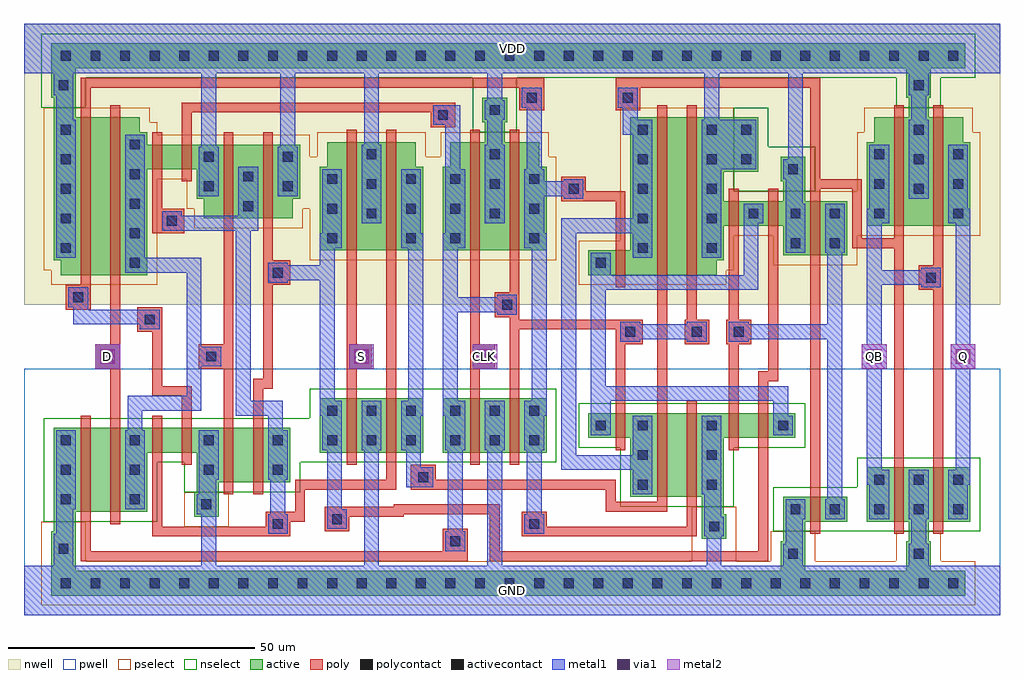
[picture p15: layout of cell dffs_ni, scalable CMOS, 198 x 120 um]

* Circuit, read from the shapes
.subckt dffs_ni CLK D GND Q QB S VDD
M1 n1 n2 GND GND nfet w=17u l=2u
M2 n3 D n1 GND nfet w=17u l=2u
M3 n4 n5 n3 GND nfet w=5u l=2u
M4 GND n6 n4 GND nfet w=5u l=2u
M5 n7 n3 GND GND nfet w=11u l=2u
M6 n5 n8 n7 GND nfet w=11u l=2u
M7 GND S n8 GND nfet w=11u l=2u
M8 n9 n5 GND GND nfet w=11u l=2u
M9 GND CLK n2 GND nfet w=11u l=2u
M10 n6 n2 GND GND nfet w=11u l=2u
M11 n10 n2 n11 GND nfet w=5u l=2u
M12 n12 n9 n10 GND nfet w=17u l=2u
M13 GND n6 n12 GND nfet w=17u l=2u
M14 n13 n14 GND GND nfet w=5u l=2u
M15 n11 n8 n13 GND nfet w=5u l=2u
M16 n14 n10 GND GND nfet w=5u l=2u
M17 GND n10 QB GND nfet w=11u l=2u
M18 Q QB GND GND nfet w=11u l=2u
M19 n15 n6 VDD VDD pfet w=32u l=2u
M20 n3 D n15 VDD pfet w=32u l=2u
M21 n16 n5 n3 VDD pfet w=5u l=2u
M22 VDD n2 n16 VDD pfet w=5u l=2u
M23 n5 n3 VDD VDD pfet w=15u l=2u
M24 VDD n8 n5 VDD pfet w=15u l=2u
M25 VDD S n8 VDD pfet w=22u l=2u
M26 n9 n5 VDD VDD pfet w=22u l=2u
M27 VDD CLK n2 VDD pfet w=22u l=2u
M28 n6 n2 VDD VDD pfet w=22u l=2u
M29 n10 n6 n11 VDD pfet w=5u l=2u
M30 n17 n9 n10 VDD pfet w=32u l=2u
M31 VDD n2 n17 VDD pfet w=32u l=2u
M32 n11 n14 VDD VDD pfet w=5u l=2u
M33 VDD n8 n11 VDD pfet w=5u l=2u
M34 n14 n10 VDD VDD pfet w=11u l=2u
M35 VDD n10 QB VDD pfet w=22u l=2u
M36 Q QB VDD VDD pfet w=22u l=2u
.ends

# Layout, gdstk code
from math import pi, radians
import gdstk
lib = gdstk.Library(unit=1e-6, precision=1e-09)
def R(c, l, rs):  # rectangles x0, y0, x1, y1
    for r in rs: c.add(gdstk.rectangle(r[:2], r[2:], *l))
def A(c, l, x, y, w, h, nx, ny, dx, dy):  # array of equal rectangles
    R(c, l, [(x+i*dx, y+j*dy, x+i*dx+w, y+j*dy+h) for i in range(nx) for j in range(ny)])
def P(c, l, *ps):  # polygons
    for p in ps: c.add(gdstk.Polygon(p, *l))
pwell = (41, 0)
nwell = (42, 0)
active = (43, 0)
pselect = (44, 0)
nselect = (45, 0)
poly = (46, 0)
polycontact = (47, 0)
activecontact = (48, 0)
metal1 = (49, 0)
via1 = (50, 0)
metal2 = (51, 0)

via = lib.new_cell('via')
R(via, metal1, [(-2.5,-2.5,2.5,2.5)])
R(via, via1, [(-1.5,-1.5,1.5,1.5)])
R(via, metal2, [(-2.5,-2.5,2.5,2.5)])

dffs_ni = lib.new_cell('dffs_ni')
R(dffs_ni, pwell, [(0,0,198,50), (148,13,173,30), (165,13,198,36), (54,27,87,50), (79,27,112,50)])
P(dffs_ni, pwell, [(31,15),(31,21),(60,21),(60,44),(0,44),(0,15)],
  [(148,18),(148,30),(162.5,30),(162.5,47),(108.5,47),(108.5,30),(117,30),(117,18)])
R(dffs_ni, nwell, [(0,63,198,120)])
P(dffs_ni, nwell, [(79,68),(79,97),(80.5,97),(80.5,102),(110.5,102),(110.5,97),(112,97),(112,68)],
  [(54,68),(54,97),(55.5,97),(55.5,102),(85.5,102),(85.5,97),(87,97),(87,68)],
  [(31,63),(31,74.5),(60.5,74.5),(60.5,78.5),(62,78.5),(62,101.5),(31,101.5),(31,104),(29.5,104),(29.5,107),(0,107),(0,66),(1.5,66),(1.5,63)],
  [(165,73),(165,102),(166.5,102),(166.5,107),(196.5,107),(196.5,102),(198,102),(198,73)],
  [(146.5,63),(146.5,66),(148,66),(148,67),(173,67),(173,90),(148,90),(148,107),(117,107),(117,80),(108.5,80),(108.5,63)])
R(dffs_ni, active, [(5.5,4,191,9), (5.5,9,10.5,17), (153.5,9,158.5,15), (179,9,184,15), (154,15,158.5,19), (179.5,15,183.5,19), (137.5,15.5,142.5,20.5), (6,17,10.5,21), (154,19,159.5,24), (154,19,167,24), (161.5,19,167,24), (171,19,176.5,30), (171,19,192,30), (186.5,19,192,30), (34.5,20,39.5,25), (137.5,20.5,142,24), (6,21,11.5,38), (35,25,39.5,27), (48.5,27,54,38), (60,33,65.5,44), (60,33,81,44), (75.5,33,81,44), (85,33,90.5,44), (85,33,106,44), (100.5,33,106,44), (114.5,36,120,41), (151,36,156.5,41), (114.5,69,120,74), (161.5,73,167,84), (154,84,158.5,88), (153.5,88,158.5,93), (142,90,149,101), (93.5,96,97.5,100), (93,100,98,105), (6,101,10.5,105), (179.5,101,183.5,105), (5.5,105,10.5,111), (179,105,184,111), (5.5,111,191,116)])
P(dffs_ni, active, [(85,74),(85,91),(86.5,91),(86.5,96),(104.5,96),(104.5,91),(106,91),(106,74)],
  [(85,74),(85,91),(86.5,91),(86.5,96),(90.5,96),(90.5,74)],
  [(100.5,74),(100.5,96),(104.5,96),(104.5,91),(106,91),(106,74)],
  [(60,74),(60,91),(61.5,91),(61.5,96),(79.5,96),(79.5,91),(81,91),(81,74)],
  [(60,74),(60,91),(61.5,91),(61.5,96),(65.5,96),(65.5,74)],
  [(75.5,74),(75.5,96),(79.5,96),(79.5,91),(81,91),(81,74)],
  [(25,21),(25,33),(35,33),(35,27),(54,27),(54,38),(6,38),(6,21)],
  [(142,24),(142,36),(156.5,36),(156.5,41),(114.5,41),(114.5,36),(123,36),(123,24)],
  [(25,69),(25,90.5),(35,90.5),(35,84.5),(36.5,84.5),(36.5,80.5),(54.5,80.5),(54.5,84.5),(56,84.5),(56,95.5),(25,95.5),(25,98),(23.5,98),(23.5,101),(6,101),(6,72),(7.5,72),(7.5,69)],
  [(54.5,80.5),(54.5,84.5),(56,84.5),(56,95.5),(50.5,95.5),(50.5,80.5)],
  [(11.5,69),(11.5,101),(6,101),(6,72),(7.5,72),(7.5,69)],
  [(171,79),(171,96),(172.5,96),(172.5,101),(190.5,101),(190.5,96),(192,96),(192,79)],
  [(171,79),(171,96),(172.5,96),(172.5,101),(176.5,101),(176.5,79)],
  [(186.5,79),(186.5,101),(190.5,101),(190.5,96),(192,96),(192,79)],
  [(140.5,69),(140.5,72),(142,72),(142,79),(154,79),(154,73),(167,73),(167,84),(142,84),(142,101),(123,101),(123,74),(114.5,74),(114.5,69)])
R(dffs_ni, pselect, [(3.5,2,193,11), (3.5,11,12.5,19), (135.5,11,144.5,22), (151.5,11,160.5,17), (177,11,186,17), (32.5,18,41.5,25)])
P(dffs_ni, pselect, [(83,72),(83,93),(84.5,93),(84.5,98),(106.5,98),(106.5,93),(108,93),(108,72)],
  [(58,72),(58,93),(59.5,93),(59.5,98),(81.5,98),(81.5,93),(83,93),(83,72)],
  [(27,67),(27,88.5),(33,88.5),(33,82.5),(34.5,82.5),(34.5,78.5),(56.5,78.5),(56.5,82.5),(58,82.5),(58,97.5),(27,97.5),(27,100),(25.5,100),(25.5,103),(4,103),(4,70),(5.5,70),(5.5,67)],
  [(169,77),(169,98),(170.5,98),(170.5,103),(192.5,103),(192.5,98),(194,98),(194,77)],
  [(142.5,67),(142.5,70),(144,70),(144,77),(152,77),(152,71),(169,71),(169,86),(144,86),(144,103),(121,103),(121,76),(112.5,76),(112.5,67)])
R(dffs_ni, nselect, [(152,17,169,26), (169,17,194,32), (32.5,25,33,31), (56,31,58,40), (58,31,83,46), (83,31,108,46), (144,86,151,103), (151,86,160.5,95), (91,98,100,109), (3.5,103,12.5,109), (177,103,186,109), (3.5,109,193,118)])
P(dffs_ni, nselect, [(27,19),(27,31),(33,31),(33,25),(56,25),(56,40),(4,40),(4,19)],
  [(144,22),(144,34),(158.5,34),(158.5,43),(112.5,43),(112.5,34),(121,34),(121,22)])
R(dffs_ni, poly, [(85,12.5,90,17.5), (49,16,54,21), (101,16,106,21), (159.5,16.5,161.5,19), (176.5,16.5,178.5,19), (184.5,16.5,186.5,19), (61,17,66,22), (11.5,18.5,13.5,21), (17.5,18.5,19.5,21), (159.5,19,161.5,24), (176.5,19,178.5,30), (184.5,19,186.5,30), (11.5,21,13.5,38), (17.5,21,19.5,38), (128.5,21.5,130.5,24), (134.5,21.5,136.5,24), (128.5,24,130.5,41), (134.5,24,136.5,41), (159.5,24,161.5,26.5), (40.5,24.5,42.5,27), (46.5,24.5,48.5,27), (78.5,25.5,83.5,30.5), (40.5,27,42.5,38), (46.5,27,48.5,38), (176.5,30,178.5,32.5), (184.5,30,186.5,32.5), (26,30.5,28,33), (32,30.5,34,33), (65.5,30.5,67.5,33), (73.5,30.5,75.5,33), (90.5,30.5,92.5,33), (98.5,30.5,100.5,33), (26,33,28,38), (32,33,34,38), (65.5,33,67.5,44), (73.5,33,75.5,44), (90.5,33,92.5,44), (98.5,33,100.5,44), (120,33.5,122,36), (143,33.5,145,36), (149,33.5,151,36), (120,36,122,41), (143,36,145,41), (149,36,151,41), (11.5,38,13.5,40.5), (17.5,38,19.5,40.5), (26,38,28,40.5), (32,38,34,40.5), (40.5,38,42.5,40.5), (46.5,38,48.5,40.5), (120,41,122,43.5), (128.5,41,130.5,43.5), (134.5,41,136.5,43.5), (143,41,145,43.5), (149,41,151,43.5), (65.5,44,67.5,46.5), (73.5,44,75.5,46.5), (90.5,44,92.5,46.5), (98.5,44,100.5,46.5), (14.5,50,19.5,55), (35.5,50,40.5,55), (65.5,50,70.5,55), (90.5,50,95.5,55), (120.5,55,125.5,60), (134,55,139,60), (142.5,55,147.5,60), (23,57.5,28,62.5), (95.5,60.5,100.5,65.5), (8.5,62,13.5,67), (181.5,66,186.5,71), (11.5,66.5,13.5,69), (17.5,66.5,19.5,69), (120,66.5,122,69), (128.5,66.5,130.5,69), (134.5,66.5,136.5,69), (49,67,54,72), (11.5,69,13.5,101), (17.5,69,19.5,101), (120,69,122,74), (128.5,69,130.5,101), (134.5,69,136.5,101), (159.5,70.5,161.5,73), (65.5,71.5,67.5,74), (73.5,71.5,75.5,74), (90.5,71.5,92.5,74), (98.5,71.5,100.5,74), (159.5,73,161.5,84), (65.5,74,67.5,96), (73.5,74,75.5,96), (90.5,74,92.5,96), (98.5,74,100.5,96), (120,74,122,76.5), (143,76.5,145,79), (151,76.5,153,79), (176.5,76.5,178.5,79), (184.5,76.5,186.5,79), (27.5,77.5,32.5,82.5), (40.5,78,42.5,80.5), (48.5,78,50.5,80.5), (143,79,145,84), (151,79,153,84), (176.5,79,178.5,101), (184.5,79,186.5,101), (40.5,80.5,42.5,95.5), (48.5,80.5,50.5,95.5), (109,84,114,89), (143,84,145,86.5), (151,84,153,86.5), (159.5,84,161.5,86.5), (26,88,28,90.5), (32,88,34,90.5), (26,90.5,28,95.5), (32,90.5,34,95.5), (26,95.5,28,98), (32,95.5,34,98), (40.5,95.5,42.5,98), (48.5,95.5,50.5,98), (65.5,96,67.5,98.5), (73.5,96,75.5,98.5), (90.5,96,92.5,98.5), (98.5,96,100.5,98.5), (82.5,99,87.5,104), (11.5,101,13.5,103.5), (17.5,101,19.5,103.5), (128.5,101,130.5,103.5), (134.5,101,136.5,103.5), (176.5,101,178.5,103.5), (184.5,101,186.5,103.5), (100.5,102.5,105.5,107.5), (120,102.5,125,107.5)])
R(dffs_ni, polycontact, [(86.5,14,88.5,16), (50.5,17.5,52.5,19.5), (102.5,17.5,104.5,19.5), (62.5,18.5,64.5,20.5), (80,27,82,29), (16,51.5,18,53.5), (37,51.5,39,53.5), (67,51.5,69,53.5), (92,51.5,94,53.5), (122,56.5,124,58.5), (135.5,56.5,137.5,58.5), (144,56.5,146,58.5), (24.5,59,26.5,61), (97,62,99,64), (10,63.5,12,65.5), (183,67.5,185,69.5), (50.5,68.5,52.5,70.5), (29,79,31,81), (110.5,85.5,112.5,87.5), (84,100.5,86,102.5), (102,104,104,106), (121.5,104,123.5,106)])
A(dffs_ni, activecontact, 7.5, 5.5, 2, 2, 31, 2, 6, 107)
A(dffs_ni, activecontact, 172.5, 20.5, 2, 2, 3, 2, 8, 6)
A(dffs_ni, activecontact, 7.5, 22.5, 2, 2, 1, 3, 0, 6)
A(dffs_ni, activecontact, 21.5, 22.5, 2, 2, 1, 3, 0, 6)
A(dffs_ni, activecontact, 124.5, 25.5, 2, 2, 1, 3, 0, 6)
A(dffs_ni, activecontact, 138.5, 25.5, 2, 2, 1, 3, 0, 6)
A(dffs_ni, activecontact, 61.5, 34.5, 2, 2, 3, 2, 8, 6)
A(dffs_ni, activecontact, 86.5, 34.5, 2, 2, 3, 2, 8, 6)
A(dffs_ni, activecontact, 21.5, 70.5, 2, 2, 1, 5, 0, 6)
A(dffs_ni, activecontact, 7.5, 73.5, 2, 2, 1, 5, 0, 6)
A(dffs_ni, activecontact, 124.5, 73.5, 2, 2, 1, 5, 0, 6)
A(dffs_ni, activecontact, 138.5, 73.5, 2, 2, 1, 5, 0, 6)
A(dffs_ni, activecontact, 61.5, 75.5, 2, 2, 1, 3, 0, 6)
A(dffs_ni, activecontact, 77.5, 75.5, 2, 2, 1, 3, 0, 6)
A(dffs_ni, activecontact, 86.5, 75.5, 2, 2, 1, 3, 0, 6)
A(dffs_ni, activecontact, 102.5, 75.5, 2, 2, 1, 3, 0, 6)
A(dffs_ni, activecontact, 69.5, 80.5, 2, 2, 1, 3, 0, 6)
A(dffs_ni, activecontact, 94.5, 80.5, 2, 2, 1, 3, 0, 6)
A(dffs_ni, activecontact, 172.5, 80.5, 2, 2, 1, 3, 0, 6)
A(dffs_ni, activecontact, 188.5, 80.5, 2, 2, 1, 3, 0, 6)
A(dffs_ni, activecontact, 180.5, 85.5, 2, 2, 1, 3, 0, 6)
R(dffs_ni, activecontact, [(155,11.5,157,13.5), (180.5,11.5,182.5,13.5), (7,12.5,9,14.5), (139,17,141,19), (155.5,20.5,157.5,22.5), (163.5,20.5,165.5,22.5), (36,21.5,38,23.5), (36.5,28.5,38.5,30.5), (50.5,28.5,52.5,30.5), (36.5,34.5,38.5,36.5), (50.5,34.5,52.5,36.5), (116,37.5,118,39.5), (153,37.5,155,39.5), (116,70.5,118,72.5), (155.5,74.5,157.5,76.5), (163.5,74.5,165.5,76.5), (147,80.5,149,82.5), (155.5,80.5,157.5,82.5), (163.5,80.5,165.5,82.5), (44.5,82,46.5,84), (36.5,86,38.5,88), (52.5,86,54.5,88), (44.5,88,46.5,90), (155,89.5,157,91.5), (145.5,91.5,147.5,93.5), (36.5,92,38.5,94), (52.5,92,54.5,94), (145.5,97.5,147.5,99.5), (94.5,101.5,96.5,103.5), (7,106.5,9,108.5), (180.5,106.5,182.5,108.5)])
A(dffs_ni, metal1, 171.5, 19.5, 4, 10, 3, 1, 8, 0)
A(dffs_ni, metal1, 60.5, 33.5, 4, 10, 3, 1, 8, 0)
A(dffs_ni, metal1, 85.5, 33.5, 4, 10, 3, 1, 8, 0)
R(dffs_ni, metal1, [(0,0,198,10), (6,10,10,16.5), (154,10,158,14.5), (179.5,10,183.5,14.5), (85.5,13,89.5,17), (154.5,14.5,158,19.5), (180,14.5,183,19.5), (138,16,142,20), (6.5,16.5,10,21.5), (49.5,16.5,53.5,20.5), (101.5,16.5,105.5,20.5), (61.5,17.5,65.5,21.5), (154.5,19.5,158.5,23.5), (162.5,19.5,166.5,23.5), (138,20,141.5,24.5), (35,20.5,39,24.5), (6.5,21.5,10.5,37.5), (20.5,21.5,24.5,37.5), (35.5,24.5,39,27.5), (123.5,24.5,127.5,40.5), (137.5,24.5,141.5,40.5), (79,26,83,30), (35.5,27.5,39.5,37.5), (49.5,27.5,53.5,37.5), (115,36.5,119,40.5), (152,36.5,156,40.5), (15,50.5,19,54.5), (36,50.5,40,54.5), (66,50.5,70,54.5), (91,50.5,95,54.5), (121,55.5,125,59.5), (134.5,55.5,138.5,59.5), (143,55.5,147,59.5), (23.5,58,27.5,62), (96,61,100,65), (9,62.5,13,66.5), (182,66.5,186,70.5), (49.5,67.5,53.5,71.5), (20.5,69.5,24.5,97.5), (115,69.5,119,73.5), (6.5,72.5,10.5,100.5), (123.5,72.5,127.5,100.5), (137.5,72.5,141.5,100.5), (154.5,73.5,158.5,83.5), (162.5,73.5,166.5,83.5), (60.5,74.5,64.5,90.5), (76.5,74.5,80.5,90.5), (85.5,74.5,89.5,90.5), (101.5,74.5,105.5,90.5), (28,78,32,82), (68.5,79.5,72.5,95.5), (93.5,79.5,97.5,95.5), (146,79.5,150,83.5), (171.5,79.5,175.5,95.5), (187.5,79.5,191.5,95.5), (43.5,81,47.5,91), (154.5,83.5,158,88.5), (109.5,84.5,113.5,88.5), (179.5,84.5,183.5,100.5), (35.5,85,39.5,95), (51.5,85,55.5,95), (154,88.5,158,92.5), (141.5,90.5,148.5,100.5), (94,95.5,97,100.5), (83,99.5,87,103.5), (6.5,100.5,10,105.5), (93.5,100.5,97.5,104.5), (180,100.5,183,105.5), (101,103,105,107), (120.5,103,124.5,107), (6,105.5,10,110), (179.5,105.5,183.5,110), (0,110,198,120)])
R(dffs_ni, metal2, [(14.5,50,19.5,55), (66,50,71,55), (91,50,96,55), (170,50,175,55), (188,50,193,55)])
dffs_ni.add(gdstk.FlexPath([(37.5,20.5),(37.5,10)], 3, ends="flush", simple_path=True, layer=49, datatype=0))  # metal1
dffs_ni.add(gdstk.FlexPath([(140,16),(140,10)], 3, ends="flush", simple_path=True, layer=49, datatype=0))  # metal1
dffs_ni.add(gdstk.FlexPath([(51.5,27.5),(51.5,20.5)], 3, ends="flush", simple_path=True, layer=49, datatype=0))  # metal1
dffs_ni.add(gdstk.FlexPath([(74.5,30.5),(74.5,26.5),(56,26.5),(56,20),(54,20)], 2, ends="flush", simple_path=True, layer=46, datatype=0))  # poly
dffs_ni.add(gdstk.FlexPath([(27,30.5),(27,17),(49,17)], 2, ends="flush", simple_path=True, layer=46, datatype=0))  # poly
dffs_ni.add(gdstk.FlexPath([(12.5,18.5),(12.5,12),(90,12)], 2, ends="flush", simple_path=True, layer=46, datatype=0))  # poly
dffs_ni.add(gdstk.FlexPath([(135.5,21.5),(135.5,17),(106,17)], 2, ends="flush", simple_path=True, layer=46, datatype=0))  # poly
dffs_ni.add(gdstk.FlexPath([(83.5,26.5),(119,26.5),(119,22),(130.5,22)], 2, ends="flush", simple_path=True, layer=46, datatype=0))  # poly
dffs_ni.add(gdstk.FlexPath([(60,69.5),(53.5,69.5)], 3, ends="flush", simple_path=True, layer=49, datatype=0))  # metal1
dffs_ni.add(gdstk.FlexPath([(61.5,40.5),(61.5,77.5)], 3, ends="flush", simple_path=True, layer=49, datatype=0))  # metal1
dffs_ni.add(gdstk.FlexPath([(79.5,40.5),(79.5,77.5)], 3, ends="flush", simple_path=True, layer=49, datatype=0))  # metal1
dffs_ni.add(gdstk.FlexPath([(172.5,82.5),(172.5,26.5)], 3, ends="flush", simple_path=True, layer=49, datatype=0))  # metal1
dffs_ni.add(gdstk.FlexPath([(190.5,26.5),(190.5,82.5)], 3, ends="flush", simple_path=True, layer=49, datatype=0))  # metal1
dffs_ni.add(gdstk.FlexPath([(182,68.5),(174,68.5)], 3, ends="flush", simple_path=True, layer=49, datatype=0))  # metal1
dffs_ni.add(gdstk.FlexPath([(123,103),(123,99),(123.5,99)], 3, ends="flush", simple_path=True, layer=49, datatype=0))  # metal1
dffs_ni.add(gdstk.FlexPath([(156.5,92.5),(156.5,110)], 3, ends="flush", simple_path=True, layer=49, datatype=0))  # metal1
dffs_ni.add(gdstk.FlexPath([(139.5,100.5),(139.5,110)], 3, ends="flush", simple_path=True, layer=49, datatype=0))  # metal1
dffs_ni.add(gdstk.FlexPath([(53.5,95),(53.5,110)], 3, ends="flush", simple_path=True, layer=49, datatype=0))  # metal1
dffs_ni.add(gdstk.FlexPath([(37.5,95),(37.5,110)], 3, ends="flush", simple_path=True, layer=49, datatype=0))  # metal1
dffs_ni.add(gdstk.FlexPath([(164.5,73.5),(164.5,23.5)], 3, ends="flush", simple_path=True, layer=49, datatype=0))  # metal1
dffs_ni.add(gdstk.FlexPath([(163,57.5),(147,57.5)], 3, ends="flush", simple_path=True, layer=49, datatype=0))  # metal1
dffs_ni.add(gdstk.FlexPath([(117.5,69.5),(117.5,67.5),(147.5,67.5),(147.5,79.5)], 3, ends="flush", simple_path=True, layer=49, datatype=0))  # metal1
dffs_ni.add(gdstk.FlexPath([(117.5,40.5),(117.5,45),(153.5,45),(153.5,40.5)], 3, ends="flush", simple_path=True, layer=49, datatype=0))  # metal1
dffs_ni.add(gdstk.FlexPath([(123.5,79),(110.5,79),(110.5,31),(123.5,31)], 3, ends="flush", simple_path=True, layer=49, datatype=0))  # metal1
dffs_ni.add(gdstk.FlexPath([(116.5,69.5),(116.5,40.5)], 3, ends="flush", simple_path=True, layer=49, datatype=0))  # metal1
dffs_ni.add(gdstk.FlexPath([(134.5,57.5),(125,57.5)], 3, ends="flush", simple_path=True, layer=49, datatype=0))  # metal1
dffs_ni.add(gdstk.FlexPath([(86.5,40.5),(86.5,77.5)], 3, ends="flush", simple_path=True, layer=49, datatype=0))  # metal1
dffs_ni.add(gdstk.FlexPath([(96,63),(88,63)], 3, ends="flush", simple_path=True, layer=49, datatype=0))  # metal1
dffs_ni.add(gdstk.FlexPath([(104.5,40.5),(104.5,77.5)], 3, ends="flush", simple_path=True, layer=49, datatype=0))  # metal1
dffs_ni.add(gdstk.FlexPath([(70.5,95.5),(70.5,110)], 3, ends="flush", simple_path=True, layer=49, datatype=0))  # metal1
dffs_ni.add(gdstk.FlexPath([(109.5,86.5),(105.5,86.5)], 3, ends="flush", simple_path=True, layer=49, datatype=0))  # metal1
dffs_ni.add(gdstk.FlexPath([(87,90.5),(87,103.5)], 3, ends="flush", simple_path=True, layer=49, datatype=0))  # metal1
dffs_ni.add(gdstk.FlexPath([(95.5,104.5),(95.5,110)], 3, ends="flush", simple_path=True, layer=49, datatype=0))  # metal1
dffs_ni.add(gdstk.FlexPath([(103.5,90.5),(103.5,105)], 3, ends="flush", simple_path=True, layer=49, datatype=0))  # metal1
dffs_ni.add(gdstk.FlexPath([(32,79.5),(47.5,79.5)], 3, ends="flush", simple_path=True, layer=49, datatype=0))  # metal1
dffs_ni.add(gdstk.FlexPath([(44.5,78),(44.5,42),(51,42),(51,37.5)], 3, ends="flush", simple_path=True, layer=49, datatype=0))  # metal1
dffs_ni.add(gdstk.FlexPath([(24.5,71),(34.5,71),(34.5,43),(22.5,43),(22.5,37.5)], 3, ends="flush", simple_path=True, layer=49, datatype=0))  # metal1
dffs_ni.add(gdstk.FlexPath([(23.5,60.5),(11.5,60.5),(11.5,62.5)], 3, ends="flush", simple_path=True, layer=49, datatype=0))  # metal1
dffs_ni.add(gdstk.FlexPath([(95.5,33.5),(95.5,10)], 3, ends="flush", simple_path=True, layer=49, datatype=0))  # metal1
dffs_ni.add(gdstk.FlexPath([(63,33.5),(63,21.5)], 3, ends="flush", simple_path=True, layer=49, datatype=0))  # metal1
dffs_ni.add(gdstk.FlexPath([(70.5,33.5),(70.5,10)], 3, ends="flush", simple_path=True, layer=49, datatype=0))  # metal1
dffs_ni.add(gdstk.FlexPath([(87.5,33.5),(87.5,17)], 3, ends="flush", simple_path=True, layer=49, datatype=0))  # metal1
dffs_ni.add(gdstk.FlexPath([(103.5,20.5),(103.5,33.5)], 3, ends="flush", simple_path=True, layer=49, datatype=0))  # metal1
dffs_ni.add(gdstk.FlexPath([(79,33.5),(79,26)], 3, ends="flush", simple_path=True, layer=49, datatype=0))  # metal1
dffs_ni.add(gdstk.FlexPath([(49.5,78),(49.5,47),(47.5,47),(47.5,40.5)], 2, ends="flush", simple_path=True, layer=46, datatype=0))  # poly
dffs_ni.add(gdstk.FlexPath([(176.5,75.5),(169,75.5),(169,87.5),(161.5,87.5)], 2, ends="flush", simple_path=True, layer=46, datatype=0))  # poly
dffs_ni.add(gdstk.FlexPath([(185.5,76.5),(185.5,32.5)], 2, ends="flush", simple_path=True, layer=46, datatype=0))  # poly
dffs_ni.add(gdstk.FlexPath([(66,21),(76,21),(76,21.5),(95.5,21.5),(95.5,12),(150,12),(150,33.5)], 2, ends="flush", simple_path=True, layer=46, datatype=0))  # poly
dffs_ni.add(gdstk.FlexPath([(177.5,32.5),(177.5,76.5)], 2, ends="flush", simple_path=True, layer=46, datatype=0))  # poly
dffs_ni.add(gdstk.FlexPath([(160.5,26.5),(160.5,70.5)], 2, ends="flush", simple_path=True, layer=46, datatype=0))  # poly
dffs_ni.add(gdstk.FlexPath([(152,76.5),(152,48.5),(150,48.5),(150,43.5)], 2, ends="flush", simple_path=True, layer=46, datatype=0))  # poly
dffs_ni.add(gdstk.FlexPath([(144,76.5),(144,43.5)], 2, ends="flush", simple_path=True, layer=46, datatype=0))  # poly
dffs_ni.add(gdstk.FlexPath([(129.5,43.5),(129.5,66.5)], 2, ends="flush", simple_path=True, layer=46, datatype=0))  # poly
dffs_ni.add(gdstk.FlexPath([(135.5,66.5),(135.5,60)], 2, ends="flush", simple_path=True, layer=46, datatype=0))  # poly
dffs_ni.add(gdstk.FlexPath([(121,43.5),(121,60)], 2, ends="flush", simple_path=True, layer=46, datatype=0))  # poly
dffs_ni.add(gdstk.FlexPath([(120,59),(100.5,59)], 2, ends="flush", simple_path=True, layer=46, datatype=0))  # poly
dffs_ni.add(gdstk.FlexPath([(91.5,71.5),(91.5,46.5)], 2, ends="flush", simple_path=True, layer=46, datatype=0))  # poly
dffs_ni.add(gdstk.FlexPath([(99.5,46.5),(99.5,71.5)], 2, ends="flush", simple_path=True, layer=46, datatype=0))  # poly
dffs_ni.add(gdstk.FlexPath([(121,76.5),(121,85),(114,85)], 2, ends="flush", simple_path=True, layer=46, datatype=0))  # poly
dffs_ni.add(gdstk.FlexPath([(27,88),(27,77.5)], 2, ends="flush", simple_path=True, layer=46, datatype=0))  # poly
dffs_ni.add(gdstk.FlexPath([(41.5,40.5),(41.5,78)], 2, ends="flush", simple_path=True, layer=46, datatype=0))  # poly
dffs_ni.add(gdstk.FlexPath([(33,40.5),(33,45.5),(27,45.5),(27,57.5)], 2, ends="flush", simple_path=True, layer=46, datatype=0))  # poly
dffs_ni.add(gdstk.FlexPath([(18.5,66.5),(18.5,40.5)], 2, ends="flush", simple_path=True, layer=46, datatype=0))  # poly
dffs_ni.add(gdstk.FlexPath([(82.5,103),(33,103),(33,98)], 2, ends="flush", simple_path=True, layer=46, datatype=0))  # poly
dffs_ni.add(gdstk.FlexPath([(12.5,103.5),(12.5,108),(105.5,108)], 2, ends="flush", simple_path=True, layer=46, datatype=0))  # poly
dffs_ni.add(gdstk.FlexPath([(66.5,71.5),(66.5,46.5)], 2, ends="flush", simple_path=True, layer=46, datatype=0))  # poly
dffs_ni.add(gdstk.FlexPath([(74.5,46.5),(74.5,71.5)], 2, ends="flush", simple_path=True, layer=46, datatype=0))  # poly
dffs_ni.add(gdstk.FlexPath([(120,108),(160.5,108),(160.5,86.5)], 2, ends="flush", simple_path=True, layer=46, datatype=0))  # poly
dffs_ni.add(gdstk.Reference(via, (93.5,52.5), rotation=pi, x_reflection=True))
dffs_ni.add(gdstk.Reference(via, (172.5,52.5), rotation=pi, x_reflection=True))
dffs_ni.add(gdstk.Reference(via, (17,52.5), rotation=pi, x_reflection=True))
dffs_ni.add(gdstk.Reference(via, (68.5,52.5), rotation=pi, x_reflection=True))
dffs_ni.add(gdstk.Reference(via, (190.5,52.5), rotation=pi, x_reflection=True))
dffs_ni.add(gdstk.Label('GND', (99,5), layer=2, texttype=0))
dffs_ni.add(gdstk.Label('S', (68.5,52.5), layer=3, texttype=0))
dffs_ni.add(gdstk.Label('CLK', (93.5,52.5), layer=3, texttype=0))
dffs_ni.add(gdstk.Label('D', (17,52.5), layer=3, texttype=0))
dffs_ni.add(gdstk.Label('Q', (190.5,52.5), layer=3, texttype=0))
dffs_ni.add(gdstk.Label('QB', (172.5,52.5), layer=3, texttype=0))
dffs_ni.add(gdstk.Label('VDD', (99,115), layer=2, texttype=0))
dffs_ni.add(gdstk.Label('S', (68.5,52.5), layer=3, texttype=0))
dffs_ni.add(gdstk.Label('CLK', (93.5,52.5), layer=3, texttype=0))
dffs_ni.add(gdstk.Label('D', (17,52.5), layer=3, texttype=0))
dffs_ni.add(gdstk.Label('Q', (190.5,52.5), layer=3, texttype=0))
dffs_ni.add(gdstk.Label('QB', (172.5,52.5), layer=3, texttype=0))
dffs_ni.add(gdstk.Label('GND', (99,5), layer=2, texttype=0))
dffs_ni.add(gdstk.Label('VDD', (99,115), layer=2, texttype=0))

lib.write_gds('dffs_ni.gds')
